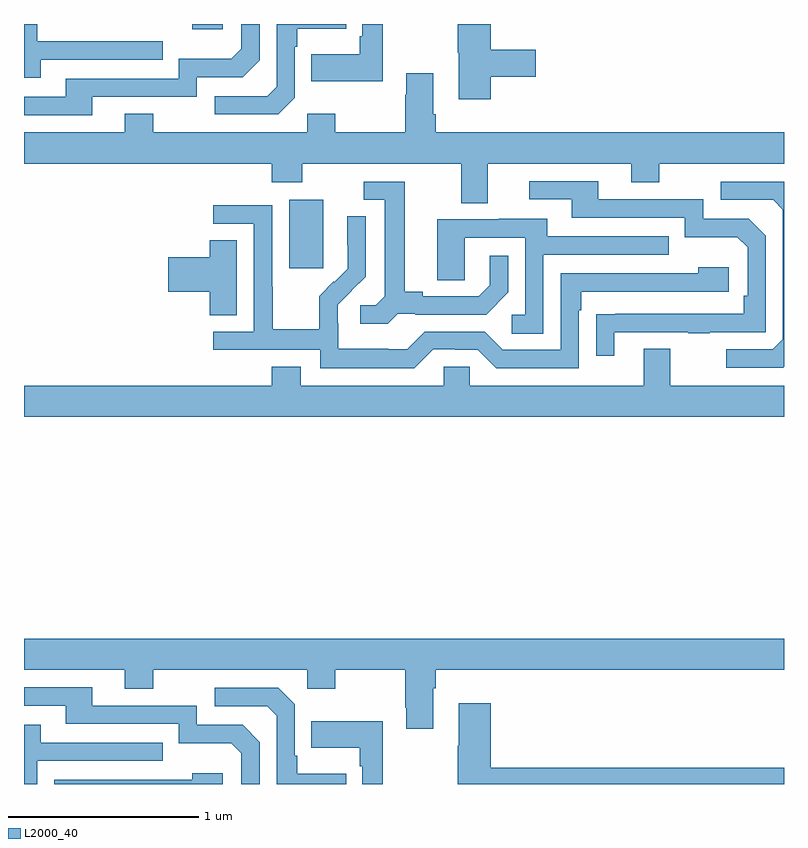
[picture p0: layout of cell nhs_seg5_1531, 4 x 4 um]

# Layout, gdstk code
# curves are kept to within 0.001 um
import gdstk
lib = gdstk.Library(unit=1e-6, precision=1e-09)
def R(c, l, rs):  # rectangles x0, y0, x1, y1
    for r in rs: c.add(gdstk.rectangle(r[:2], r[2:], *l))
def P(c, l, *ps):  # polygons
    for p in ps: c.add(gdstk.Polygon(p, *l))
L2000_40 = (2000, 40)

nhs_seg5_1531 = lib.new_cell('nhs_seg5_1531')
R(nhs_seg5_1531, L2000_40, [(204.395,885.513,204.574,885.874), (203.885,886.772,204.046,886.799)])
P(nhs_seg5_1531, L2000_40, [(203.089,886.611),(203.729,886.611),(203.729,886.707),(203.07,886.707),(203.07,886.799),(203,886.799),(203,886.517),(203.089,886.517)],
  [(204.426,886.41),(204.426,886.679),(204.439,886.679),(204.439,886.775),(204.695,886.775),(204.695,886.799),(204.33,886.799),(204.33,886.47),(204.279,886.419),(204.003,886.419),(204.003,886.323),(204.339,886.323)],
  [(203.359,886.416),(203.91,886.416),(203.91,886.518),(204.15,886.518),(204.24,886.608),(204.24,886.799),(204.144,886.799),(204.144,886.668),(204.091,886.615),(203.814,886.615),(203.814,886.512),(203.219,886.512),(203.219,886.416),(203,886.416),(203,886.32),(203.359,886.32)],
  [(205.457,886.522),(205.693,886.522),(205.693,886.664),(205.457,886.664),(205.457,886.799),(205.282,886.799),(205.282,886.647),(205.289,886.647),(205.289,886.404),(205.457,886.404)],
  [(204.889,886.799),(204.78,886.799),(204.78,886.735),(204.768,886.735),(204.768,886.639),(204.511,886.639),(204.511,886.499),(204.889,886.499)],
  [(205.441,886.064),(206.195,886.064),(206.195,885.965),(206.343,885.965),(206.343,886.064),(207,886.064),(207,886.228),(205.166,886.228),(205.166,886.324),(205.153,886.324),(205.153,886.54),(205.013,886.54),(205.013,886.427),(205.006,886.427),(205.006,886.228),(204.639,886.228),(204.639,886.327),(204.492,886.327),(204.492,886.228),(203.679,886.228),(203.679,886.327),(203.531,886.327),(203.531,886.228),(203,886.228),(203,886.064),(204.305,886.064),(204.305,885.965),(204.465,885.965),(204.465,886.064),(205.301,886.064),(205.301,885.856),(205.441,885.856)],
  [(206.107,885.177),(206.497,885.177),(206.497,885.172),(206.609,885.172),(206.609,885.177),(206.904,885.177),(206.904,885.684),(206.814,885.774),(206.574,885.774),(206.574,885.876),(206.023,885.876),(206.023,885.972),(205.659,885.972),(205.659,885.876),(205.883,885.876),(205.883,885.78),(206.478,885.78),(206.478,885.677),(206.755,885.677),(206.808,885.624),(206.808,885.37),(206.788,885.37),(206.788,885.273),(206.011,885.272),(206.011,885.054),(206.107,885.054)],
  [(204.966,885.273),(205.06,885.273),(205.06,885.27),(205.432,885.27),(205.548,885.386),(205.548,885.58),(205.451,885.58),(205.451,885.423),(205.394,885.366),(205.099,885.366),(205.099,885.389),(205.003,885.389),(205.003,885.969),(204.789,885.969),(204.789,885.873),(204.899,885.873),(204.899,885.365),(204.852,885.318),(204.771,885.318),(204.771,885.221),(204.914,885.221)],
  [(207,884.994),(207,885.969),(206.667,885.969),(206.667,885.873),(206.943,885.873),(206.994,885.822),(206.994,885.141),(206.94,885.087),(206.697,885.087),(206.697,884.991),(206.997,884.991)],
  [(205.155,885.087),(205.271,885.087),(205.271,885.084),(205.389,885.084),(205.485,884.988),(205.92,884.988),(205.92,885.293),(205.933,885.293),(205.933,885.39),(206.71,885.39),(206.71,885.52),(206.549,885.52),(206.549,885.486),(205.824,885.486),(205.824,885.084),(205.521,885.084),(205.425,885.18),(205.11,885.18),(205.017,885.087),(204.917,885.087),(204.917,885.091),(204.654,885.091),(204.654,885.225),(204.652,885.225),(204.652,885.322),(204.798,885.47),(204.798,885.788),(204.702,885.788),(204.702,885.634),(204.704,885.634),(204.704,885.512),(204.633,885.441),(204.63,885.444),(204.553,885.367),(204.553,885.193),(204.309,885.193),(204.309,885.416),(204.306,885.416),(204.306,885.846),(203.997,885.846),(203.997,885.747),(204.21,885.747),(204.21,885.18),(203.997,885.18),(203.997,885.084),(204.558,885.084),(204.558,884.987),(205.055,884.987)],
  [(205.734,885.585),(206.393,885.585),(206.393,885.681),(205.753,885.681),(205.753,885.775),(205.499,885.775),(205.499,885.771),(205.175,885.771),(205.175,885.451),(205.32,885.451),(205.32,885.675),(205.638,885.675),(205.638,885.27),(205.566,885.27),(205.566,885.169),(205.734,885.169)],
  [(204.121,885.662),(203.978,885.662),(203.978,885.572),(203.76,885.572),(203.76,885.389),(203.978,885.389),(203.978,885.265),(204.121,885.265)],
  [(207,884.896),(206.401,884.896),(206.401,885.091),(206.261,885.091),(206.261,884.896),(205.347,884.896),(205.347,884.994),(205.209,884.994),(205.209,884.896),(204.457,884.896),(204.457,884.995),(204.305,884.995),(204.305,884.896),(203,884.896),(203,884.732),(207,884.732)],
  [(205.153,883.304),(205.166,883.304),(205.166,883.4),(207,883.4),(207,883.564),(203,883.564),(203,883.4),(203.531,883.4),(203.531,883.301),(203.679,883.301),(203.679,883.4),(204.492,883.4),(204.492,883.301),(204.639,883.301),(204.639,883.4),(205.006,883.4),(205.006,883.201),(205.013,883.201),(205.013,883.089),(205.153,883.089)],
  [(204.24,883.02),(204.15,883.11),(203.91,883.11),(203.91,883.212),(203.359,883.212),(203.359,883.308),(203,883.308),(203,883.212),(203.219,883.212),(203.219,883.116),(203.814,883.116),(203.814,883.013),(204.091,883.013),(204.144,882.96),(204.144,882.799),(204.24,882.799)],
  [(204.695,882.853),(204.439,882.853),(204.439,882.949),(204.426,882.949),(204.426,883.218),(204.339,883.305),(204.003,883.305),(204.003,883.209),(204.279,883.209),(204.33,883.158),(204.33,882.799),(204.695,882.799)],
  [(207,882.884),(205.457,882.884),(205.457,883.225),(205.289,883.225),(205.289,883.001),(205.282,883.001),(205.282,882.799),(207,882.799)],
  [(204.889,883.129),(204.511,883.129),(204.511,882.989),(204.768,882.989),(204.768,882.893),(204.78,882.893),(204.78,882.799),(204.889,882.799)],
  [(203.07,882.921),(203.729,882.921),(203.729,883.017),(203.089,883.017),(203.089,883.111),(203,883.111),(203,882.799),(203.07,882.799)],
  [(204.046,882.856),(203.885,882.856),(203.885,882.822),(203.16,882.822),(203.16,882.799),(204.046,882.799)])

lib.write_gds('nhs_seg5_1531.gds')
